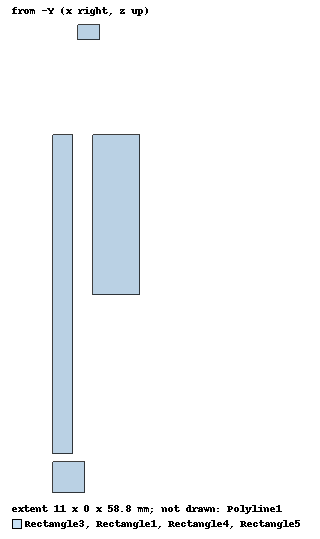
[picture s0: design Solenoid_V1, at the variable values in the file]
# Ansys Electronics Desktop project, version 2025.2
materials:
  vacuum: permittivity=1

design Solenoid_V1 (Maxwell 2D, Magnetostatic, about Z geometry, model units mm)
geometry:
  Rectangle1 [vacuum] = rectangle(corner=(0mm, 0mm, -30mm), z_size=40mm, x_size=2.5mm)
  Rectangle3 [vacuum] = rectangle(corner=(5mm, 0mm, -10mm), z_size=20mm, x_size=6mm)
  Polyline1 [vacuum] = polyline(y=0mm, xz in mm: (3.5, 21) (15.5, 21) (15.5, -21) (3.5, -21) (3.5, -20) (14.5, -20) (14.5, 20) (3.5, 20) (3.5, 21), closed, covered)
  Rectangle4 [vacuum] = rectangle(corner=(0mm, 0mm, -31mm), z_size=-4mm, x_size=4mm)
  Rectangle5 [vacuum] = rectangle(corner=(3.2mm, 0mm, 22mm), z_size=1.8mm, x_size=2.8mm)
